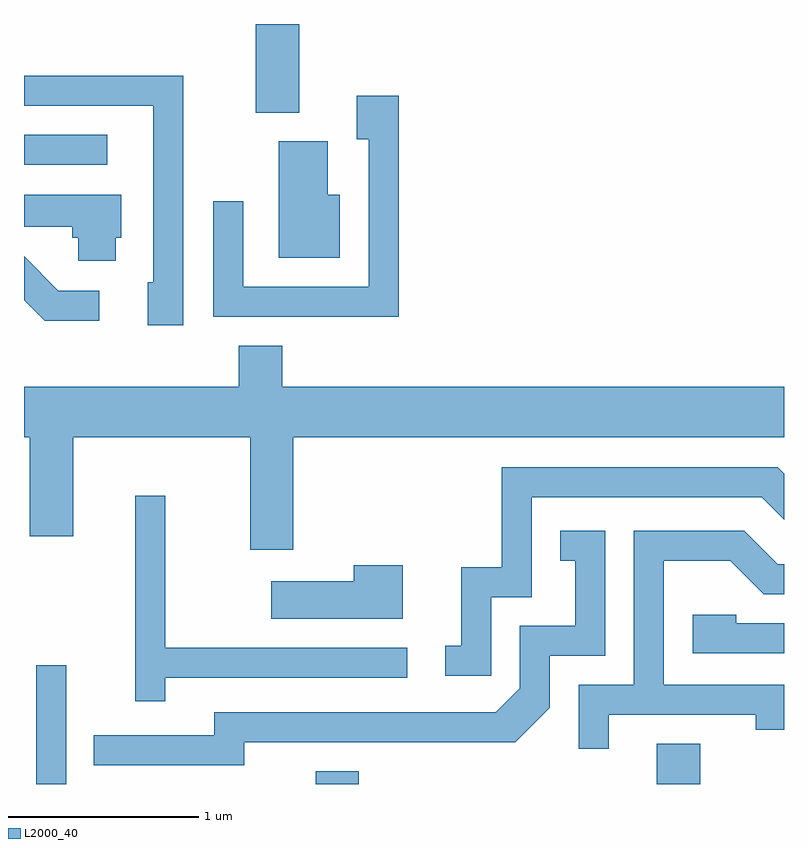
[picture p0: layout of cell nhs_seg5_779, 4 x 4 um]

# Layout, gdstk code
import gdstk
lib = gdstk.Library(unit=1e-6, precision=1e-09)
def R(c, l, rs):  # rectangles x0, y0, x1, y1
    for r in rs: c.add(gdstk.rectangle(r[:2], r[2:], *l))
def P(c, l, *ps):  # polygons
    for p in ps: c.add(gdstk.Polygon(p, *l))
L2000_40 = (2000, 40)

nhs_seg5_779 = lib.new_cell('nhs_seg5_779')
R(nhs_seg5_779, L2000_40, [(207.676,1466.072,207.834,1466.698), (209.146,1466.072,209.374,1466.139), (210.941,1466.072,211.169,1466.284), (207.611,1469.331,208.048,1469.489), (208.831,1469.606,209.059,1470.072)])
P(nhs_seg5_779, L2000_40, [(208.449,1469.799),(207.611,1469.799),(207.611,1469.641),(208.291,1469.641),(208.291,1468.714),(208.261,1468.714),(208.261,1468.486),(208.449,1468.486)],
  [(209.584,1469.694),(209.361,1469.694),(209.361,1469.466),(209.426,1469.466),(209.426,1468.689),(208.764,1468.689),(208.764,1469.138),(208.606,1469.138),(208.606,1468.531),(209.584,1468.531)],
  [(209.274,1469.174),(209.209,1469.174),(209.209,1469.454),(208.951,1469.454),(208.951,1468.841),(209.274,1468.841)],
  [(208.094,1468.946),(208.124,1468.946),(208.124,1469.174),(207.611,1469.174),(207.611,1469.006),(207.866,1469.006),(207.866,1468.946),(207.896,1468.946),(207.896,1468.826),(208.094,1468.826)],
  [(208.008,1468.669),(207.792,1468.669),(207.611,1468.85),(207.611,1468.619),(207.719,1468.511),(208.008,1468.511)],
  [(209.029,1467.896),(211.611,1467.896),(211.611,1468.164),(208.969,1468.164),(208.969,1468.379),(208.741,1468.379),(208.741,1468.164),(207.611,1468.164),(207.611,1467.896),(207.641,1467.896),(207.641,1467.376),(207.869,1467.376),(207.869,1467.896),(208.801,1467.896),(208.801,1467.306),(209.029,1467.306)],
  [(210.069,1467.056),(210.284,1467.056),(210.284,1467.581),(211.494,1467.581),(211.611,1467.464),(211.611,1467.705),(211.577,1467.739),(210.126,1467.739),(210.126,1467.214),(209.911,1467.214),(209.911,1466.799),(209.828,1466.799),(209.828,1466.641),(210.069,1466.641)],
  [(208.354,1466.631),(209.628,1466.631),(209.628,1466.789),(208.354,1466.789),(208.354,1467.588),(208.196,1467.588),(208.196,1466.508),(208.354,1466.508)],
  [(210.689,1466.436),(211.461,1466.436),(211.461,1466.358),(211.611,1466.358),(211.611,1466.594),(210.979,1466.594),(210.979,1467.246),(211.329,1467.246),(211.504,1467.071),(211.611,1467.071),(211.611,1467.229),(211.577,1467.229),(211.402,1467.404),(210.821,1467.404),(210.821,1466.594),(210.531,1466.594),(210.531,1466.258),(210.689,1466.258)],
  [(208.769,1466.291),(210.197,1466.291),(210.379,1466.474),(210.379,1466.746),(210.669,1466.746),(210.669,1467.404),(210.433,1467.404),(210.433,1467.246),(210.511,1467.246),(210.511,1466.904),(210.221,1466.904),(210.221,1466.577),(210.094,1466.449),(208.611,1466.449),(208.611,1466.329),(207.978,1466.329),(207.978,1466.171),(208.769,1466.171)],
  [(209.604,1467.224),(209.346,1467.224),(209.346,1467.139),(208.911,1467.139),(208.911,1466.941),(209.604,1466.941)],
  [(211.611,1466.919),(211.359,1466.919),(211.359,1466.964),(211.131,1466.964),(211.131,1466.761),(211.611,1466.761)])

lib.write_gds('nhs_seg5_779.gds')
